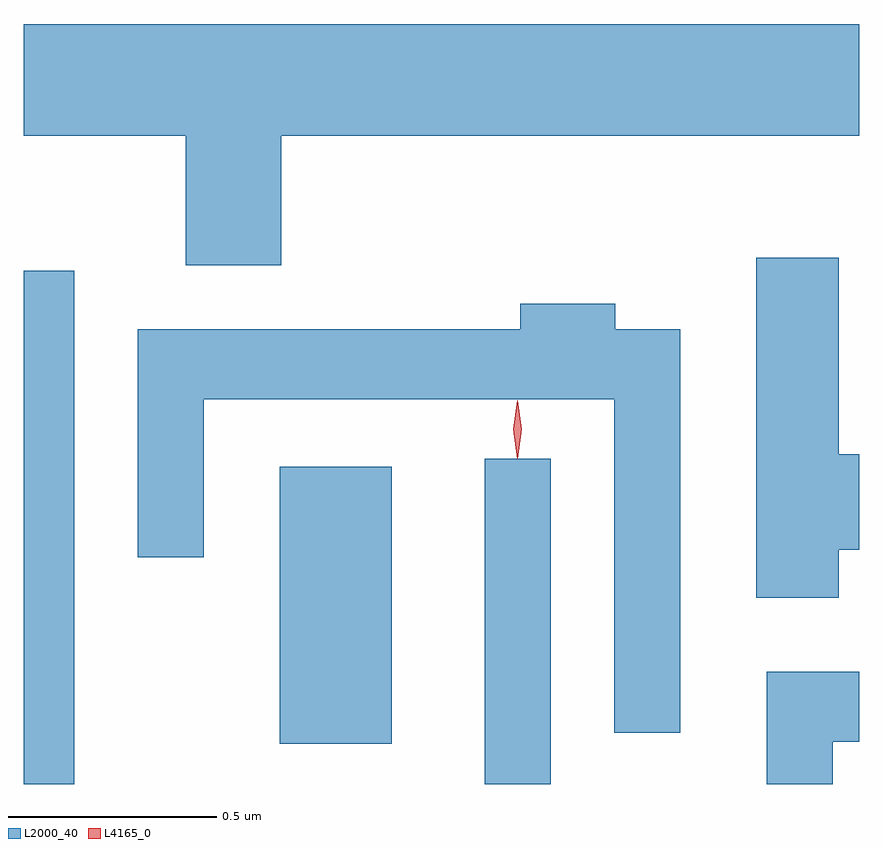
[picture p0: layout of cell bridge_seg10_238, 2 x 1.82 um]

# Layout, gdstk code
import gdstk
lib = gdstk.Library(unit=1e-6, precision=1e-09)
def R(c, l, rs):  # rectangles x0, y0, x1, y1
    for r in rs: c.add(gdstk.rectangle(r[:2], r[2:], *l))
def P(c, l, *ps):  # polygons
    for p in ps: c.add(gdstk.Polygon(p, *l))
L2000_40 = (2000, 40)
L4165_0 = (4165, 0)

bridge_seg10_238 = lib.new_cell('bridge_seg10_238')
R(bridge_seg10_238, L2000_40, [(1720.183,2083.505,1720.304,2084.733), (1721.286,2083.505,1721.444,2084.283), (1720.796,2083.601,1721.064,2084.264)])
P(bridge_seg10_238, L2000_40, [(1720.799,2085.056),(1722.183,2085.056),(1722.183,2085.324),(1720.183,2085.324),(1720.183,2085.056),(1720.571,2085.056),(1720.571,2084.746),(1720.799,2084.746)],
  [(1722.134,2084.066),(1722.183,2084.066),(1722.183,2084.294),(1722.134,2084.294),(1722.134,2084.764),(1721.936,2084.764),(1721.936,2083.951),(1722.134,2083.951)],
  [(1721.754,2084.594),(1721.599,2084.594),(1721.599,2084.654),(1721.371,2084.654),(1721.371,2084.594),(1720.456,2084.594),(1720.456,2084.048),(1720.614,2084.048),(1720.614,2084.426),(1721.596,2084.426),(1721.596,2083.628),(1721.754,2083.628)],
  [(1722.119,2083.606),(1722.183,2083.606),(1722.183,2083.774),(1721.961,2083.774),(1721.961,2083.505),(1722.119,2083.505)])
P(bridge_seg10_238, L4165_0, [(1721.364,2084.284),(1721.355,2084.354),(1721.364,2084.422),(1721.365,2084.423),(1721.366,2084.422),(1721.375,2084.354),(1721.366,2084.284),(1721.365,2084.284)])

lib.write_gds('bridge_seg10_238.gds')
